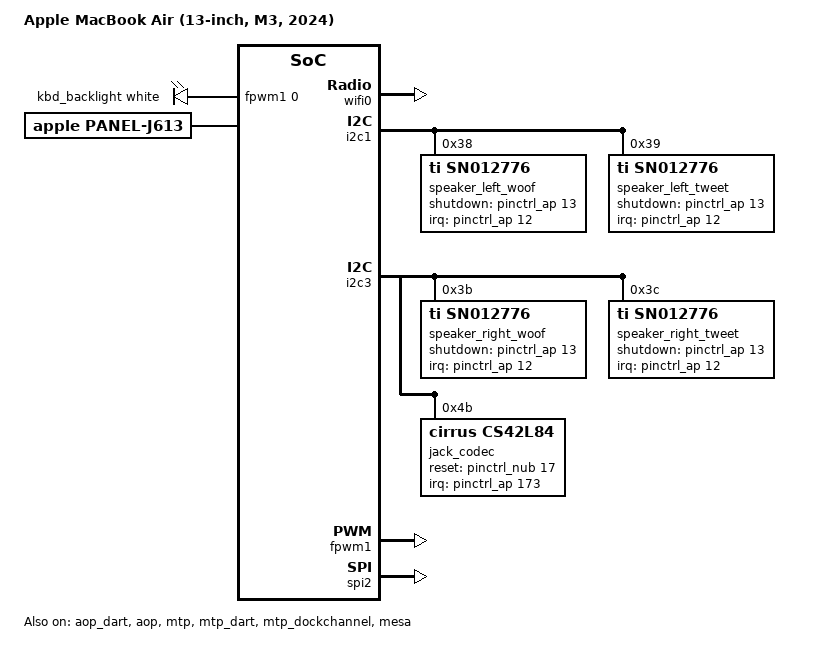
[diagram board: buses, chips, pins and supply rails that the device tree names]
// SPDX-License-Identifier: GPL-2.0+ OR MIT
/*
 * Apple MacBook Air (13-inch, M3, 2024)
 *
 * target-type: J613
 *
 * Copyright The Asahi Linux Contributors
 */

/dts-v1/;

#include "t8122.dtsi"
#include "t8122-usbpd-spmi.dtsi"
#include "t8122-jxxx.dtsi"
#include <dt-bindings/leds/common.h>
#include <dt-bindings/thermal/thermal.h>

/ {
	compatible = "apple,j613", "apple,t8122", "apple,arm-platform";
	model = "Apple MacBook Air (13-inch, M3, 2024)";

	aliases {
		sep = &sep;
	};

	led-controller {
		compatible = "pwm-leds";
		led-0 {
			pwms = <&fpwm1 0 40000>;
			label = "kbd_backlight";
			function = LED_FUNCTION_KBD_BACKLIGHT;
			color = <LED_COLOR_ID_WHITE>;
			max-brightness = <255>;
			default-state = "keep";
		};
	};

	/*
	 * The J613 is fanless: the CPUs are the only cooling devices. As on
	 * the J700, every die sensor gets a zone that throttles both clusters,
	 * since they share one die and one heat spreader, and the power
	 * allocator splits the budget by the energy models, with the E cluster
	 * weighted three to one. The E maps stop at cooling state 3 (2004 MHz):
	 * the E cluster adds at most about 2 W, and the governor would
	 * otherwise send an idle E cluster to its lowest state.
	 *
	 * The trips are the J700's: switch-on 58 C (idle is 43-52 C), control
	 * 95 C, critical 110 C. sustainable-power comes from load tests with the
	 * gains derived from it: with the four P cores busy, the J700's 1.5 W
	 * held the hottest sensor at 72 C and the P cores at 2.1 GHz; 6 W held
	 * 90-95 C at 2.6-3.0 GHz (one 96.5 C peak); 7.5 W swung between 2.2 and
	 * 3.6 GHz with peaks of 98 C. With 6 W, all eight cores busy settled at
	 * 92 C with the P cores at 2.2-2.4 GHz and the E cores at full clock;
	 * the P cores with the GPU busy at 618 MHz peaked at 97 C (the GPU is
	 * not a cooling device here).
	 */
	thermal-zones {
		cpu-e0-thermal {
			polling-delay-passive = <500>;
			polling-delay = <500>;
			thermal-sensors = <&smc_hwmon 0>;	/* Te05 */
			sustainable-power = <6000>;

			trips {
				cpu_e0_alert: trip-alert {
					temperature = <58000>;
					hysteresis = <2000>;
					type = "passive";
				};

				cpu_e0_control: trip-control {
					temperature = <95000>;
					hysteresis = <2000>;
					type = "passive";
				};

				trip-critical {
					temperature = <110000>;
					hysteresis = <0>;
					type = "critical";
				};
			};

			cooling-maps {
				map0 {
					trip = <&cpu_e0_control>;
					cooling-device =
						<&cpu_p0 THERMAL_NO_LIMIT THERMAL_NO_LIMIT>,
						<&cpu_p1 THERMAL_NO_LIMIT THERMAL_NO_LIMIT>,
						<&cpu_p2 THERMAL_NO_LIMIT THERMAL_NO_LIMIT>,
						<&cpu_p3 THERMAL_NO_LIMIT THERMAL_NO_LIMIT>;
					contribution = <1024>;
				};

				map1 {
					trip = <&cpu_e0_control>;
					cooling-device =
						<&cpu_e0 THERMAL_NO_LIMIT 3>,
						<&cpu_e1 THERMAL_NO_LIMIT 3>,
						<&cpu_e2 THERMAL_NO_LIMIT 3>,
						<&cpu_e3 THERMAL_NO_LIMIT 3>;
					contribution = <3072>;
				};
			};
		};

		cpu-e1-thermal {
			polling-delay-passive = <500>;
			polling-delay = <500>;
			thermal-sensors = <&smc_hwmon 1>;	/* Te0P */
			sustainable-power = <6000>;

			trips {
				cpu_e1_alert: trip-alert {
					temperature = <58000>;
					hysteresis = <2000>;
					type = "passive";
				};

				cpu_e1_control: trip-control {
					temperature = <95000>;
					hysteresis = <2000>;
					type = "passive";
				};

				trip-critical {
					temperature = <110000>;
					hysteresis = <0>;
					type = "critical";
				};
			};

			cooling-maps {
				map0 {
					trip = <&cpu_e1_control>;
					cooling-device =
						<&cpu_p0 THERMAL_NO_LIMIT THERMAL_NO_LIMIT>,
						<&cpu_p1 THERMAL_NO_LIMIT THERMAL_NO_LIMIT>,
						<&cpu_p2 THERMAL_NO_LIMIT THERMAL_NO_LIMIT>,
						<&cpu_p3 THERMAL_NO_LIMIT THERMAL_NO_LIMIT>;
					contribution = <1024>;
				};

				map1 {
					trip = <&cpu_e1_control>;
					cooling-device =
						<&cpu_e0 THERMAL_NO_LIMIT 3>,
						<&cpu_e1 THERMAL_NO_LIMIT 3>,
						<&cpu_e2 THERMAL_NO_LIMIT 3>,
						<&cpu_e3 THERMAL_NO_LIMIT 3>;
					contribution = <3072>;
				};
			};
		};

		cpu-p0-thermal {
			polling-delay-passive = <500>;
			polling-delay = <500>;
			thermal-sensors = <&smc_hwmon 2>;	/* Tp05 */
			sustainable-power = <6000>;

			trips {
				cpu_p0_alert: trip-alert {
					temperature = <58000>;
					hysteresis = <2000>;
					type = "passive";
				};

				cpu_p0_control: trip-control {
					temperature = <95000>;
					hysteresis = <2000>;
					type = "passive";
				};

				trip-critical {
					temperature = <110000>;
					hysteresis = <0>;
					type = "critical";
				};
			};

			cooling-maps {
				map0 {
					trip = <&cpu_p0_control>;
					cooling-device =
						<&cpu_p0 THERMAL_NO_LIMIT THERMAL_NO_LIMIT>,
						<&cpu_p1 THERMAL_NO_LIMIT THERMAL_NO_LIMIT>,
						<&cpu_p2 THERMAL_NO_LIMIT THERMAL_NO_LIMIT>,
						<&cpu_p3 THERMAL_NO_LIMIT THERMAL_NO_LIMIT>;
					contribution = <1024>;
				};

				map1 {
					trip = <&cpu_p0_control>;
					cooling-device =
						<&cpu_e0 THERMAL_NO_LIMIT 3>,
						<&cpu_e1 THERMAL_NO_LIMIT 3>,
						<&cpu_e2 THERMAL_NO_LIMIT 3>,
						<&cpu_e3 THERMAL_NO_LIMIT 3>;
					contribution = <3072>;
				};
			};
		};

		cpu-p1-thermal {
			polling-delay-passive = <500>;
			polling-delay = <500>;
			thermal-sensors = <&smc_hwmon 3>;	/* Tp0L */
			sustainable-power = <6000>;

			trips {
				cpu_p1_alert: trip-alert {
					temperature = <58000>;
					hysteresis = <2000>;
					type = "passive";
				};

				cpu_p1_control: trip-control {
					temperature = <95000>;
					hysteresis = <2000>;
					type = "passive";
				};

				trip-critical {
					temperature = <110000>;
					hysteresis = <0>;
					type = "critical";
				};
			};

			cooling-maps {
				map0 {
					trip = <&cpu_p1_control>;
					cooling-device =
						<&cpu_p0 THERMAL_NO_LIMIT THERMAL_NO_LIMIT>,
						<&cpu_p1 THERMAL_NO_LIMIT THERMAL_NO_LIMIT>,
						<&cpu_p2 THERMAL_NO_LIMIT THERMAL_NO_LIMIT>,
						<&cpu_p3 THERMAL_NO_LIMIT THERMAL_NO_LIMIT>;
					contribution = <1024>;
				};

				map1 {
					trip = <&cpu_p1_control>;
					cooling-device =
						<&cpu_e0 THERMAL_NO_LIMIT 3>,
						<&cpu_e1 THERMAL_NO_LIMIT 3>,
						<&cpu_e2 THERMAL_NO_LIMIT 3>,
						<&cpu_e3 THERMAL_NO_LIMIT 3>;
					contribution = <3072>;
				};
			};
		};

		cpu-p2-thermal {
			polling-delay-passive = <500>;
			polling-delay = <500>;
			thermal-sensors = <&smc_hwmon 4>;	/* Tp0b */
			sustainable-power = <6000>;

			trips {
				cpu_p2_alert: trip-alert {
					temperature = <58000>;
					hysteresis = <2000>;
					type = "passive";
				};

				cpu_p2_control: trip-control {
					temperature = <95000>;
					hysteresis = <2000>;
					type = "passive";
				};

				trip-critical {
					temperature = <110000>;
					hysteresis = <0>;
					type = "critical";
				};
			};

			cooling-maps {
				map0 {
					trip = <&cpu_p2_control>;
					cooling-device =
						<&cpu_p0 THERMAL_NO_LIMIT THERMAL_NO_LIMIT>,
						<&cpu_p1 THERMAL_NO_LIMIT THERMAL_NO_LIMIT>,
						<&cpu_p2 THERMAL_NO_LIMIT THERMAL_NO_LIMIT>,
						<&cpu_p3 THERMAL_NO_LIMIT THERMAL_NO_LIMIT>;
					contribution = <1024>;
				};

				map1 {
					trip = <&cpu_p2_control>;
					cooling-device =
						<&cpu_e0 THERMAL_NO_LIMIT 3>,
						<&cpu_e1 THERMAL_NO_LIMIT 3>,
						<&cpu_e2 THERMAL_NO_LIMIT 3>,
						<&cpu_e3 THERMAL_NO_LIMIT 3>;
					contribution = <3072>;
				};
			};
		};

		cpu-p3-thermal {
			polling-delay-passive = <500>;
			polling-delay = <500>;
			thermal-sensors = <&smc_hwmon 5>;	/* Tp0r */
			sustainable-power = <6000>;

			trips {
				cpu_p3_alert: trip-alert {
					temperature = <58000>;
					hysteresis = <2000>;
					type = "passive";
				};

				cpu_p3_control: trip-control {
					temperature = <95000>;
					hysteresis = <2000>;
					type = "passive";
				};

				trip-critical {
					temperature = <110000>;
					hysteresis = <0>;
					type = "critical";
				};
			};

			cooling-maps {
				map0 {
					trip = <&cpu_p3_control>;
					cooling-device =
						<&cpu_p0 THERMAL_NO_LIMIT THERMAL_NO_LIMIT>,
						<&cpu_p1 THERMAL_NO_LIMIT THERMAL_NO_LIMIT>,
						<&cpu_p2 THERMAL_NO_LIMIT THERMAL_NO_LIMIT>,
						<&cpu_p3 THERMAL_NO_LIMIT THERMAL_NO_LIMIT>;
					contribution = <1024>;
				};

				map1 {
					trip = <&cpu_p3_control>;
					cooling-device =
						<&cpu_e0 THERMAL_NO_LIMIT 3>,
						<&cpu_e1 THERMAL_NO_LIMIT 3>,
						<&cpu_e2 THERMAL_NO_LIMIT 3>,
						<&cpu_e3 THERMAL_NO_LIMIT 3>;
					contribution = <3072>;
				};
			};
		};
	};
};

&dcp {
	panel: panel {
		compatible = "apple,panel-j613", "apple,panel";
		/*
		 * 2560x1664 at 224 ppi; 181 mm high without the 64 notch rows,
		 * as on the J413.
		 */
		width-mm = <290>;
		height-mm = <189>;
		adj-height-mm = <181>;
		/* The backlight's maximum: 525 nits. */
		apple,max-brightness = <525>;
	};
};

/*
 * The boot framebuffer is the same panel: with its physical size simpledrm
 * reports 224 dpi instead of assuming 96, so early users (Plymouth, fbcon)
 * pick the same HiDPI scale as the display driver does later. As on the
 * J413 and J313.
 */
&framebuffer0 {
	panel = <&panel>;
	post-init-providers = <&panel>;
};

&wifi0 {
	brcm,board-type = "apple,dnieper";
};

&bluetooth0 {
	brcm,board-type = "apple,dnieper";
};

&aop_mbox {
	status = "okay";
};

&aop_dart {
	status = "okay";
};

&aop_admac {
	status = "okay";
};

&aop {
	status = "okay";
};

&aop_audio {
	apple,chassis-name = "J613";
	apple,machine-kind = "MacBook Air";
};

&i2c1 {
	speaker_left_woof: codec@38 {
		compatible = "ti,sn012776", "ti,tas2764";
		reg = <0x38>;
		shutdown-gpios = <&pinctrl_ap 13 GPIO_ACTIVE_HIGH>;
		#sound-dai-cells = <0>;
		sound-name-prefix = "Left Woofer";
		interrupts-extended = <&pinctrl_ap 12 IRQ_TYPE_LEVEL_LOW>;
		ti,imon-slot-no = <0>;
		ti,vmon-slot-no = <2>;
	};

	speaker_left_tweet: codec@39 {
		compatible = "ti,sn012776", "ti,tas2764";
		reg = <0x39>;
		shutdown-gpios = <&pinctrl_ap 13 GPIO_ACTIVE_HIGH>;
		#sound-dai-cells = <0>;
		sound-name-prefix = "Left Tweeter";
		interrupts-extended = <&pinctrl_ap 12 IRQ_TYPE_LEVEL_LOW>;
		ti,imon-slot-no = <8>;
		ti,vmon-slot-no = <10>;
	};
};

&i2c3 {
	speaker_right_woof: codec@3b {
		compatible = "ti,sn012776", "ti,tas2764";
		reg = <0x3b>;
		shutdown-gpios = <&pinctrl_ap 13 GPIO_ACTIVE_HIGH>;
		#sound-dai-cells = <0>;
		sound-name-prefix = "Right Woofer";
		interrupts-extended = <&pinctrl_ap 12 IRQ_TYPE_LEVEL_LOW>;
		ti,imon-slot-no = <4>;
		ti,vmon-slot-no = <6>;
	};

	speaker_right_tweet: codec@3c {
		compatible = "ti,sn012776", "ti,tas2764";
		reg = <0x3c>;
		shutdown-gpios = <&pinctrl_ap 13 GPIO_ACTIVE_HIGH>;
		#sound-dai-cells = <0>;
		sound-name-prefix = "Right Tweeter";
		interrupts-extended = <&pinctrl_ap 12 IRQ_TYPE_LEVEL_LOW>;
		ti,imon-slot-no = <12>;
		ti,vmon-slot-no = <14>;
	};

	jack_codec: codec@4b {
		compatible = "cirrus,cs42l84";
		reg = <0x4b>;
		reset-gpios = <&pinctrl_nub 17 GPIO_ACTIVE_HIGH>;
		#sound-dai-cells = <0>;
		interrupts-extended = <&pinctrl_ap 173 IRQ_TYPE_LEVEL_LOW>;
		sound-name-prefix = "Jack";
	};
};

/ {
	sound {
		compatible = "apple,j613-macaudio", "apple,j413-macaudio", "apple,macaudio";
		model = "MacBook Air J613";

		dai-link@0 {
			link-name = "Speakers";
			dai-tdm-idle-mode-0 = "zero";
			dai-tdm-idle-mode-2 = "zero";
			dai-tdm-slot-tx-idle-mask-0 = <0x0f0f>;
			dai-tdm-slot-tx-idle-mask-2 = <0xf0f0>;

			cpu {
				sound-dai = <&mca 0>, <&mca 1>;
			};
			codec {
				sound-dai = <&speaker_left_woof>, <&speaker_left_tweet>,
					    <&speaker_right_woof>, <&speaker_right_tweet>;
			};
		};

		dai-link@1 {
			link-name = "Headphone Jack";

			cpu {
				sound-dai = <&mca 2>;
			};
			codec {
				sound-dai = <&jack_codec>;
			};
		};
	};
};

&fpwm1 {
	status = "okay";
};

&mtp {
	status = "okay";
};

&mtp_mbox {
	status = "okay";
};

&mtp_dart {
	status = "okay";
};

&mtp_dockchannel {
	status = "okay";
};

&mtp_hid {
	apple,afe-reset-gpios = <&smc_gpio 8 GPIO_ACTIVE_LOW>;
	apple,stm-reset-gpios = <&smc_gpio 24 GPIO_ACTIVE_LOW>;

	multi-touch {
		firmware-name = "apple/tpmtfw-j613.bin";
	};

	keyboard: keyboard {
		hid-country-code = <0>;
		apple,keyboard-layout-id = <0>;
	};

	stm {
	};

	actuator {
	};

	tp_accel {
	};
};

#include "isp-imx558-cfg0.dtsi"

&isp {
	apple,platform-id = <18>;
	apple,temporal-filter = <1>;
};

/*
 * Mesa fingerprint sensor on spi2 (J613 ADT /arm-io/spi2/mesa): power on
 * NUB GPIO 29, active high. The data-ready line (AP GPIO 199) is left out,
 * so the driver polls until its trigger is confirmed. Native chip select only.
 */
&spi2 {
	status = "okay";
};

&mesa {
	status = "okay";
	enable-gpios = <&pinctrl_nub 29 GPIO_ACTIVE_HIGH>;
	spi-cs-setup-delay-ns = <20>;
	spi-cs-hold-delay-ns = <20>;
	/* Per-device factory data from this Mac's own iBoot system container. */
	firmware-name = "apple/mesacal-j613.bin";
};

#include "hwmon-laptop.dtsi"

/*
 * External display on both USB-C ports: left-back (typec0, ATC0) and
 * left-front (typec1, ATC1). In the J613 ADT dcpext is display-crossbar
 * ufp1, port 0, which is crossbar state 2 (dispext1,0) in the T602x model,
 * on either ATC's crossbar. The DPTX target is the ADT's DFP index of the
 * ATC (atc0 = 0, atc1 = 1), as in the M1/M2 dcpext routes. dcpext has one
 * DPTX link, so one external display at a time: the display fabric gives
 * the pipeline to the first port that asks, and the other port keeps USB.
 *
 * dcpext, its routes, its DARTs, its mailbox and both crossbars stay
 * disabled here, like the internal DCP. The boot loader finds dcpext
 * through the "dcpext" alias, reserves its firmware and marks it
 * apple,t8122-dcpext-firmware-ready; the kernel's display gate then enables
 * all of them after the internal display was handed over, and keeps the
 * common power state of both ATCs on (apple,always-on), as for DP alt mode
 * on the M1/M2 laptops. The routes stay disabled until then, as on T6030:
 * an available route with no registered mode switch would make the Type-C
 * port wait for one forever. A kernel or boot loader without dcpext
 * support therefore sees nothing new.
 *
 * The display subsystem's iommus are left alone: the display gate accepts
 * exactly one entry there (disp0_dart stream 0) before it enables the
 * internal display, and adds <&dispext0_dart 0> itself when it enables
 * dcpext, as it does for the T6030 external processors.
 */
/ {
	aliases {
		dcpext = &dcpext;
	};
};

&dcpext {
	apple,connector-type = "USB-C";
	phys = <&atcphy0 PHY_TYPE_DP>, <&atcphy1 PHY_TYPE_DP>;
	phy-names = "typec0", "typec1";
	mux-controls = <&atcphy0_xbar 0>, <&atcphy1_xbar 0>;
	mux-control-names = "typec0", "typec1";
	apple,typec-mux-indices = <2 2>;
	apple,typec-dptx-phys = <0 1>;
	/* RTKit quirks of AsahiLinux/linux#607 (syslog/ioreport acks, kdebug). */
	apple,sync-syslog-ack;

	typec-routes {
		#address-cells = <1>;
		#size-cells = <0>;

		route@0 {
			reg = <0>;
			mode-switch;
			status = "disabled";

			port {
				dcpext_typec0: endpoint {
					remote-endpoint = <&typec0_dcpext>;
				};
			};
		};

		route@1 {
			reg = <1>;
			mode-switch;
			status = "disabled";

			port {
				dcpext_typec1: endpoint {
					remote-endpoint = <&typec1_dcpext>;
				};
			};
		};
	};
};

&typec0 {
	ports {
		port@3 {
			reg = <3>;

			typec0_dcpext: endpoint {
				remote-endpoint = <&dcpext_typec0>;
			};
		};
	};
};

/*
 * With the lid closed the internal DCP's pipe can drive a second external
 * display on the left-front port. In the J613 ADT the
 * internal DCP is display-crossbar ufp0, port 0, which is crossbar state 0
 * (dispext0,0) on ATC1's crossbar, DPTX target 1 like dcpext's route@1. The
 * pipe's first DPTX core drives the panel otherwise, so the display driver
 * only offers this route while the lid is closed and the panel is off, and
 * only to a display that dcpext cannot take.
 *
 * The route stays disabled here, like dcpext's: the display gate enables it
 * together with dcpext. The front connector has one endpoint per pipeline
 * that can drive it, as on the M1 Pro/Max laptops.
 */
&dcp {
	phys = <&atcphy1 PHY_TYPE_DP>;
	phy-names = "typec0";
	mux-controls = <&atcphy1_xbar 0>;
	mux-control-names = "typec0";
	apple,typec-mux-indices = <0>;
	apple,typec-dptx-phys = <1>;

	typec-routes {
		#address-cells = <1>;
		#size-cells = <0>;

		route@0 {
			reg = <0>;
			mode-switch;
			status = "disabled";

			port {
				dcp_typec1: endpoint {
					remote-endpoint = <&typec1_dcp>;
				};
			};
		};
	};
};

&typec1 {
	ports {
		port@3 {
			reg = <3>;
			#address-cells = <1>;
			#size-cells = <0>;

			typec1_dcpext: endpoint@0 {
				reg = <0>;
				remote-endpoint = <&dcpext_typec1>;
			};

			typec1_dcp: endpoint@1 {
				reg = <1>;
				remote-endpoint = <&dcp_typec1>;
			};
		};
	};
};
